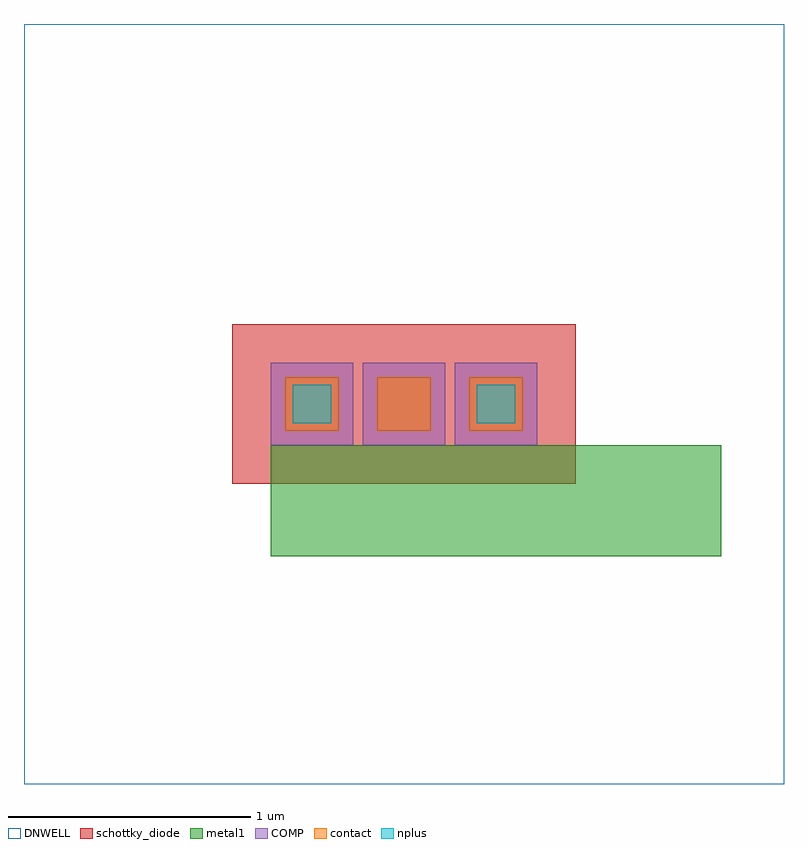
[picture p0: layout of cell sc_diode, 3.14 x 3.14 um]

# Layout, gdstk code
import gdstk
lib = gdstk.Library(unit=1e-6, precision=1e-09)
def R(c, l, rs):  # rectangles x0, y0, x1, y1
    for r in rs: c.add(gdstk.rectangle(r[:2], r[2:], *l))
DNWELL = (12, 0)
COMP = (22, 0)
nplus = (32, 0)
contact = (33, 0)
metal1 = (34, 0)
schottky_diode = (241, 0)

compass_5c90cb24 = lib.new_cell('compass_5c90cb24')
R(compass_5c90cb24, COMP, [(-0.05,-0.05,0.05,0.05)])

rectangle_5c90cb24 = lib.new_cell('rectangle_5c90cb24')
rectangle_5c90cb24.add(gdstk.Reference(compass_5c90cb24, (0.05,0.05)))

compass_eeb2af7d = lib.new_cell('compass_eeb2af7d')
R(compass_eeb2af7d, nplus, [(-0.08,-0.08,0.08,0.08)])

rectangle_eeb2af7d = lib.new_cell('rectangle_eeb2af7d')
rectangle_eeb2af7d.add(gdstk.Reference(compass_eeb2af7d, (0.08,0.08)))

compass_f38dc993 = lib.new_cell('compass_f38dc993')
R(compass_f38dc993, contact, [(-0.11,-0.11,0.11,0.11)])

rectangle_f38dc993 = lib.new_cell('rectangle_f38dc993')
rectangle_f38dc993.add(gdstk.Reference(compass_f38dc993, (0.11,0.11)))

via_generator_fb634f5e = lib.new_cell('via_generator_fb634f5e')
r = gdstk.Reference(rectangle_f38dc993, (-0.06,-0.06)); r.repetition = gdstk.Repetition(1, 1, v1=(0.5,0), v2=(0,0.5)); via_generator_fb634f5e.add(r)

compass_9deecdff = lib.new_cell('compass_9deecdff')
R(compass_9deecdff, COMP, [(-0.17,-0.17,0.17,0.17)])

rectangle_9deecdff = lib.new_cell('rectangle_9deecdff')
rectangle_9deecdff.add(gdstk.Reference(compass_9deecdff, (0.17,0.17)))

via_stack_702b90f4 = lib.new_cell('via_stack_702b90f4')
via_stack_702b90f4.add(gdstk.Reference(via_generator_fb634f5e, (0,0)))
via_stack_702b90f4.add(gdstk.Reference(rectangle_9deecdff, (-0.12,-0.12)))

sc_cathode_strap = lib.new_cell('sc_cathode_strap')
sc_cathode_strap.add(gdstk.Reference(rectangle_5c90cb24, (0,0)))
sc_cathode_strap.add(gdstk.Reference(rectangle_eeb2af7d, (-0.03,-0.03)))
sc_cathode_strap.add(gdstk.Reference(via_stack_702b90f4, (0,0)))

compass_23aef081 = lib.new_cell('compass_23aef081')
R(compass_23aef081, metal1, [(-0.55,-0.115,0.55,0.115)])

rectangle_23aef081 = lib.new_cell('rectangle_23aef081')
rectangle_23aef081.add(gdstk.Reference(compass_23aef081, (0.55,0.115)))

compass_d13d6cd2 = lib.new_cell('compass_d13d6cd2')
R(compass_d13d6cd2, metal1, [(-0.93,-0.115,0.93,0.115)])

rectangle_d13d6cd2 = lib.new_cell('rectangle_d13d6cd2')
rectangle_d13d6cd2.add(gdstk.Reference(compass_d13d6cd2, (0.93,0.115)))

sc_anode_strap = lib.new_cell('sc_anode_strap')
sc_anode_strap.add(gdstk.Reference(rectangle_5c90cb24, (0,0)))
sc_anode_strap.add(gdstk.Reference(via_stack_702b90f4, (0,0)))

compass_fb314cd3 = lib.new_cell('compass_fb314cd3')
R(compass_fb314cd3, schottky_diode, [(-0.71,-0.33,0.71,0.33)])

rectangle_fb314cd3 = lib.new_cell('rectangle_fb314cd3')
rectangle_fb314cd3.add(gdstk.Reference(compass_fb314cd3, (0.71,0.33)))

compass_4fbc8f54 = lib.new_cell('compass_4fbc8f54')
R(compass_4fbc8f54, DNWELL, [(-1.57,-1.57,1.57,1.57)])

rectangle_4fbc8f54 = lib.new_cell('rectangle_4fbc8f54')
rectangle_4fbc8f54.add(gdstk.Reference(compass_4fbc8f54, (1.57,1.57)))

sc_diode = lib.new_cell('sc_diode')
r = gdstk.Reference(sc_cathode_strap, (0,0)); r.repetition = gdstk.Repetition(2, 1, v1=(0.76,0), v2=(0,1)); sc_diode.add(r)
r = gdstk.Reference(rectangle_23aef081, (-0.12,-0.35)); r.repetition = gdstk.Repetition(2, 1, v1=(0.76,0), v2=(0,1)); sc_diode.add(r)
sc_diode.add(gdstk.Reference(rectangle_d13d6cd2, (-0.12,-0.58)))
r = gdstk.Reference(sc_anode_strap, (0.38,0)); r.repetition = gdstk.Repetition(1, 1, v1=(0.76,0), v2=(0,1)); sc_diode.add(r)
sc_diode.add(gdstk.Reference(rectangle_fb314cd3, (-0.28,-0.28)))
sc_diode.add(gdstk.Reference(rectangle_4fbc8f54, (-1.14,-1.52)))

lib.write_gds('sc_diode.gds')
